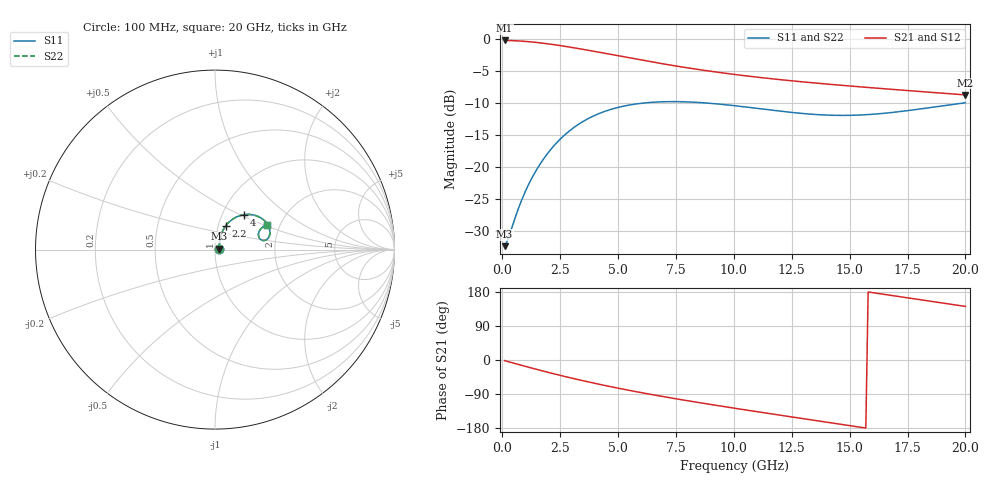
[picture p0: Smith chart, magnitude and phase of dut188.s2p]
! Created with skrf 1.9.0 (http://scikit-rf.org).
# GHz S RI R 50.0
!freq ReS11 ImS11 ReS21 ImS21 ReS12 ImS12 ReS22 ImS22
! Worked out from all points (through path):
!   200 points, 100 MHz to 20 GHz, reference 50 ohm
!   highest |S21| = -0.21 dB at 100 MHz (marker M1); lowest = -8.7 dB at 20 GHz (marker M2)
!   group delay of S21, straight-line fit = 28.8 ps
!   lowest |S11| = -32.3 dB at 100 MHz (marker M3), VSWR 1.05, Z = 52.4 + j0.602 ohm
!   |S11| at or under -10 dB: start of sweep to 6.034 GHz; 8.923 GHz to 19.85 GHz (10.93 GHz wide, 76 % of centre)
!   |S22| runs from -32.3 to -9.8 dB; largest |S21 - S12| = 1.8e-15
!   S11 on the Smith chart (normalised r, x): 100 MHz: 1.05, +0.01; 2.2 GHz: 1.09, +0.29; 4 GHz: 1.27, +0.53; 20 GHz: 1.71, +0.51
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0.1  0.0236 0.00574  0.9759 -0.0291  0.9759 -0.0291  0.0236 0.00574
0.3  0.0239 0.0171  0.971 -0.0868  0.971 -0.0868  0.0239 0.0171
0.8  0.0264 0.0464  0.9388 -0.2262  0.9388 -0.2262  0.0264 0.0464
1.1  0.0296 0.0647  0.9071 -0.3039  0.9071 -0.3039  0.0296 0.0647
1.6  0.0393 0.096  0.8374 -0.42  0.8374 -0.42  0.0393 0.096
2.2  0.0597 0.1324  0.7338 -0.5333  0.7338 -0.5333  0.0597 0.1324
2.8  0.0894 0.1629  0.6178 -0.6173  0.6178 -0.6173  0.0894 0.1629
3.5  0.1317 0.1866  0.478 -0.6802  0.478 -0.6802  0.1317 0.1866
4  0.1637 0.1947  0.3803 -0.7049  0.3803 -0.7049  0.1637 0.1947
4.6  0.2004 0.1951  0.2692 -0.716  0.2692 -0.716  0.2004 0.1951
5.2  0.2329 0.1874  0.167 -0.7109  0.167 -0.7109  0.2329 0.1874
6  0.267 0.1685  0.0465 -0.6855  0.0465 -0.6855  0.267 0.1685
6.8  0.2898 0.1445  -0.056 -0.6455  -0.056 -0.6455  0.2898 0.1445
7.6  0.3023 0.1197  -0.1419 -0.5962  -0.1419 -0.5962  0.3023 0.1197
8.4  0.306 0.097  -0.2132 -0.5415  -0.2132 -0.5415  0.306 0.097
10.1  0.2949 0.0625  -0.3247 -0.4165  -0.3247 -0.4165  0.2949 0.0625
11.7  0.2736 0.0505  -0.39 -0.2952  -0.39 -0.2952  0.2736 0.0505
13.4  0.2527 0.0573  -0.4247 -0.1671  -0.4247 -0.1671  0.2527 0.0573
15  0.2426 0.0763  -0.4278 -0.0512  -0.4278 -0.0512  0.2426 0.0763
16.7  0.246 0.1016  -0.4025 0.0617  -0.4025 0.0617  0.246 0.1016
18.4  0.2635 0.1234  -0.352 0.1579  -0.352 0.1579  0.2635 0.1234
20  0.2889 0.1348  -0.2872 0.2287  -0.2872 0.2287  0.2889 0.1348
